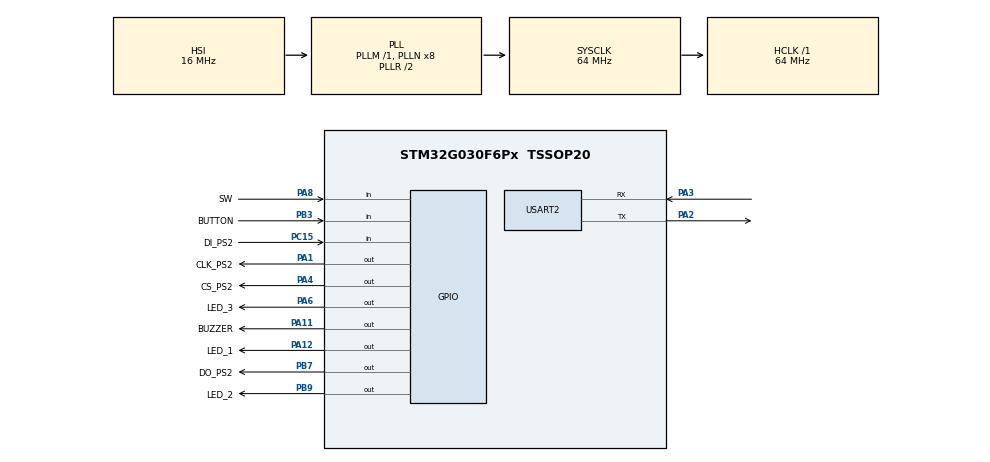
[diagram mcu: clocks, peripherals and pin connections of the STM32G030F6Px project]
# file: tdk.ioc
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Dma.Request0=USART2_TX
Dma.USART2_TX.0.Direction=DMA_MEMORY_TO_PERIPH
Dma.USART2_TX.0.EventEnable=DISABLE
Dma.USART2_TX.0.Instance=DMA1_Channel1
Dma.USART2_TX.0.MemDataAlignment=DMA_MDATAALIGN_BYTE
Dma.USART2_TX.0.MemInc=DMA_MINC_ENABLE
Dma.USART2_TX.0.Mode=DMA_NORMAL
Dma.USART2_TX.0.PeriphDataAlignment=DMA_PDATAALIGN_BYTE
Dma.USART2_TX.0.PeriphInc=DMA_PINC_DISABLE
Dma.USART2_TX.0.Polarity=HAL_DMAMUX_REQ_GEN_RISING
Dma.USART2_TX.0.Priority=DMA_PRIORITY_LOW
Dma.USART2_TX.0.RequestNumber=1
Dma.USART2_TX.0.SignalID=NONE
Dma.USART2_TX.0.SyncEnable=DISABLE
Dma.USART2_TX.0.SyncPolarity=HAL_DMAMUX_SYNC_NO_EVENT
Dma.USART2_TX.0.SyncRequestNumber=1
Dma.USART2_TX.0.SyncSignalID=NONE
Mcu.Family=STM32G0
Mcu.Name=STM32G030F6Px
Mcu.Package=TSSOP20
NVIC.DMA1_Channel1_IRQn=true\:1\:0\:false\:false\:true\:false\:true\:true
NVIC.TIM3_IRQn=true\:2\:0\:false\:false\:true\:true\:true\:true
NVIC.USART2_IRQn=true\:1\:0\:false\:false\:true\:false\:true\:true
PA1.GPIO_Label=CLK_PS2
PA1.GPIO_PuPd=GPIO_NOPULL
PA1.GPIO_Speed=GPIO_SPEED_FREQ_HIGH
PA1.PinState=GPIO_PIN_SET
PA1.Signal=GPIO_Output
PA11\ [PA9].GPIO_Label=BUZZER
PA11\ [PA9].PinState=GPIO_PIN_RESET
PA11\ [PA9].Signal=GPIO_Output
PA12\ [PA10].GPIO_Label=LED_1
PA12\ [PA10].PinState=GPIO_PIN_RESET
PA12\ [PA10].Signal=GPIO_Output
PA13.Mode=Serial_Wire
PA13.Signal=SYS_SWDIO
PA14-BOOT0.Mode=Serial_Wire
PA14-BOOT0.Signal=SYS_SWCLK
PA14-BOOT0__PA15.StandardMode=true
PA2.Mode=Asynchronous
PA2.Signal=USART2_TX
PA3.Mode=Asynchronous
PA3.Signal=USART2_RX
PA4.GPIO_Label=CS_PS2
PA4.GPIO_PuPd=GPIO_NOPULL
PA4.GPIO_Speed=GPIO_SPEED_FREQ_HIGH
PA4.PinState=GPIO_PIN_SET
PA4.Signal=GPIO_Output
PA6.GPIO_Label=LED_3
PA6.PinState=GPIO_PIN_RESET
PA6.Signal=GPIO_Output
PA8.GPIO_Label=SW
PA8.GPIO_PuPd=GPIO_NOPULL
PA8.Signal=GPIO_Input
PB0__PB1__PB2__PA8.StandardMode=true
PB3.GPIO_Label=BUTTON
PB3.GPIO_PuPd=GPIO_NOPULL
PB3.Signal=GPIO_Input
PB3__PB4__PB5__PB6.StandardMode=true
PB7.GPIO_Label=DO_PS2
PB7.GPIO_PuPd=GPIO_NOPULL
PB7.GPIO_Speed=GPIO_SPEED_FREQ_HIGH
PB7.PinState=GPIO_PIN_SET
PB7.Signal=GPIO_Output
PB7__PB8.StandardMode=true
PB9.GPIO_Label=LED_2
PB9.PinState=GPIO_PIN_RESET
PB9.Signal=GPIO_Output
PC14-OSC32_IN\ (PC14)__PB9.StandardMode=true
PC15-OSC32_OUT\ (PC15).GPIO_Label=DI_PS2
PC15-OSC32_OUT\ (PC15).GPIO_PuPd=GPIO_PULLUP
PC15-OSC32_OUT\ (PC15).Signal=GPIO_Input
ProjectManager.HeapSize=0x200
ProjectManager.StackSize=0x400
ProjectManager.TargetToolchain=EWARM V8.50
RCC.ADCFreq_Value=64000000
RCC.AHBFreq_Value=64000000
RCC.CortexFreq_Value=64000000
RCC.EXTERNAL_CLOCK_VALUE=12288000
RCC.FLatency=FLASH_LATENCY_2
RCC.HCLKFreq_Value=64000000
RCC.HSE_VALUE=8000000
RCC.HSI_VALUE=16000000
RCC.LSE_VALUE=32768
RCC.SYSCLKFreq_VALUE=64000000
RCC.SYSCLKSource=RCC_SYSCLKSOURCE_PLLCLK
RCC.VCOOutputFreq_Value=128000000
TIM14.Prescaler=127
TIM3.Period=9999
TIM3.Prescaler=63
USART2.VirtualMode-Asynchronous=VM_ASYNC
VP_TIM14_VS_ClockSourceINT.Mode=Enable_Timer
VP_TIM3_VS_ClockSourceINT.Mode=Internal
board=custom

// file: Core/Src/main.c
/* USER CODE BEGIN Header */
/**
  ******************************************************************************
  * @file           : main.c
  * @brief          : Main program body
  ******************************************************************************
  * @attention
  *
  * Copyright (c) 2026 STMicroelectronics.
  * All rights reserved.
  *
  * This software is licensed under terms that can be found in the LICENSE file
  * in the root directory of this software component.
  * If no LICENSE file comes with this software, it is provided AS-IS.
  *
  ******************************************************************************
  */
/* USER CODE END Header */
#include "main.h"

/* USER CODE BEGIN Includes */
#include "PS2_F103.h"
#include "rf_hc12.h"
/* USER CODE END Includes */

TIM_HandleTypeDef htim3;
TIM_HandleTypeDef htim14;

UART_HandleTypeDef huart2;
DMA_HandleTypeDef hdma_usart2_tx;

/* USER CODE BEGIN PV */
Data du;
RF_HC12_t g_rf;
volatile uint8_t g_tim3_10ms_flag = 0U;

typedef struct
{
  GPIO_TypeDef *port;
  uint16_t      pin;
  uint8_t       raw_last;
  uint8_t       debounced;
  uint32_t      change_ms;
} TdkSwitch_t;

static TdkSwitch_t g_sw_pa8  = {SW_GPIO_Port, SW_Pin, 0U, 0U, 0U};
static TdkSwitch_t g_btn_pb3 = {BUTTON_GPIO_Port, BUTTON_Pin, 0U, 0U, 0U};
/* USER CODE END PV */

void SystemClock_Config(void);
static void MX_GPIO_Init(void);
static void MX_DMA_Init(void);
static void MX_TIM3_Init(void);
static void MX_TIM14_Init(void);
static void MX_USART2_UART_Init(void);

/* USER CODE BEGIN 0 */
static void tdk_switch_init(TdkSwitch_t *sw, uint32_t now_ms)
{
  /* tay_dk SW1 (PA8) & SW2 (PB3) have 10k pull-ups to +3V3 and pull to GND when pressed (active-LOW) */
  uint8_t raw = (HAL_GPIO_ReadPin(sw->port, sw->pin) == GPIO_PIN_RESET) ? 1U : 0U;
  sw->raw_last = raw;
  sw->debounced = raw;
  sw->change_ms = now_ms;
}

static uint8_t tdk_switch_update(TdkSwitch_t *sw, uint32_t now_ms)
{
  uint8_t raw = (HAL_GPIO_ReadPin(sw->port, sw->pin) == GPIO_PIN_RESET) ? 1U : 0U;
  if (raw != sw->raw_last)
  {
    sw->raw_last = raw;
    sw->change_ms = now_ms;
  }
  if ((raw != sw->debounced) && ((uint32_t)(now_ms - sw->change_ms) >= 20U))
  {
    sw->debounced = raw;
  }
  return sw->debounced;
}

void HAL_TIM_PeriodElapsedCallback(TIM_HandleTypeDef *htim)
{
  if (htim->Instance == TIM3)
  {
    g_tim3_10ms_flag = 1U;
  }
}

void HAL_UART_ErrorCallback(UART_HandleTypeDef *huart)
{
  RF_HC12_UartErrorCallback(&g_rf, huart);
}
/* USER CODE END 0 */

int main(void)
{

  /* MCU Configuration--------------------------------------------------------*/

  /* Reset of all peripherals, Initializes the Flash interface and the Systick. */
  HAL_Init();

  /* Configure the system clock */
  SystemClock_Config();

  /* Initialize all configured peripherals */
  MX_GPIO_Init();
  MX_DMA_Init();
  MX_TIM3_Init();
  MX_TIM14_Init();
  MX_USART2_UART_Init();
  /* USER CODE BEGIN 2 */
  HAL_Delay(200);
  RF_HC12_Init(&g_rf, &huart2, NULL, 0U, RF_NODE_TDK, 0U);
  (void)RF_HC12_SetupRoutine(&g_rf, RF_HC12_DEFAULT_CHANNEL, RF_HC12_DEFAULT_BAUD);

  PS2_Init(&htim14, &du);
  HAL_Delay(150);

  uint32_t boot_ms = HAL_GetTick();
  tdk_switch_init(&g_sw_pa8, boot_ms);
  tdk_switch_init(&g_btn_pb3, boot_ms);

  uint8_t tx_div = 0U;
  HAL_TIM_Base_Start_IT(&htim3);
  /* USER CODE END 2 */

  /* Infinite loop */
  while (1)
  {

    /* USER CODE BEGIN 3 */
    if (g_tim3_10ms_flag != 0U)
    {
      g_tim3_10ms_flag = 0U;
      uint32_t now_ms = HAL_GetTick();

      /* Bit-bang PS2 in thread context so interrupts / SysTick / DMA TX are never blocked */
      PS2_Update();

      uint8_t sw_pressed  = tdk_switch_update(&g_sw_pa8, now_ms);
      uint8_t btn_pressed = tdk_switch_update(&g_btn_pb3, now_ms);

      /* Active-HIGH LED_1: solid ON when PS2 responds, blinking when disconnected */
      bool ps2_valid  = (du.address == 255U) || (du.address == 0x41U);
      bool ps2_analog = (du.address == 255U);
      if (ps2_valid)
      {
        HAL_GPIO_WritePin(LED_1_GPIO_Port, LED_1_Pin, GPIO_PIN_SET);
      }
      else
      {
        HAL_GPIO_WritePin(LED_1_GPIO_Port, LED_1_Pin,
                          (((now_ms / 250U) & 1U) != 0U) ? GPIO_PIN_SET : GPIO_PIN_RESET);
      }

      /* Active-HIGH LED_3: ON when AT configured OR user presses SW/BUTTON */
      bool led3_on = (sw_pressed != 0U) || (btn_pressed != 0U) || (g_rf.at_configured != 0U);
      HAL_GPIO_WritePin(LED_3_GPIO_Port, LED_3_Pin, led3_on ? GPIO_PIN_SET : GPIO_PIN_RESET);

      /* 50 Hz RF transmit (20 ms period -> leaves clean ~15 ms TDMA window for manual->auto relay) */
      tx_div++;
      if (tx_div >= 2U)
      {
        tx_div = 0U;
        RF_PayloadTdk_t cmd;
        cmd.ps2_addr    = du.address;
        cmd.joy_sum[0]  = du.data[0];
        cmd.joy_sum[1]  = du.data[1];
        cmd.joy_left[0] = du.data2[0];
        cmd.joy_left[1] = du.data2[1];
        cmd.ps2_btn[0]  = du.button[0];
        cmd.ps2_btn[1]  = du.button[1];
        cmd.ext_sw      = (sw_pressed  ? RF_TDK_EXT_SW_BIT     : 0U) |
                          (btn_pressed ? RF_TDK_EXT_BUTTON_BIT : 0U) |
                          (ps2_valid   ? RF_TDK_PS2_VALID_BIT  : 0U) |
                          (ps2_analog  ? RF_TDK_PS2_ANALOG_BIT : 0U);
        cmd.aux         = (g_rf.at_configured != 0U) ? 1U : 0U;

        if (RF_HC12_SendTdkCmd(&g_rf, RF_NODE_MANUAL, &cmd) == HAL_OK)
        {
          HAL_GPIO_TogglePin(LED_2_GPIO_Port, LED_2_Pin);
        }
      }
    }
  }
  /* USER CODE END 3 */
}

void SystemClock_Config(void)
{
  RCC_OscInitTypeDef RCC_OscInitStruct = {0};
  RCC_ClkInitTypeDef RCC_ClkInitStruct = {0};

  /** Configure the main internal regulator output voltage
  */
  HAL_PWREx_ControlVoltageScaling(PWR_REGULATOR_VOLTAGE_SCALE1);

  /** Initializes the RCC Oscillators according to the specified parameters
  * in the RCC_OscInitTypeDef structure.
  */
  RCC_OscInitStruct.OscillatorType = RCC_OSCILLATORTYPE_HSI;
  RCC_OscInitStruct.HSIState = RCC_HSI_ON;
  RCC_OscInitStruct.HSIDiv = RCC_HSI_DIV1;
  RCC_OscInitStruct.HSICalibrationValue = RCC_HSICALIBRATION_DEFAULT;
  RCC_OscInitStruct.PLL.PLLState = RCC_PLL_ON;
  RCC_OscInitStruct.PLL.PLLSource = RCC_PLLSOURCE_HSI;
  RCC_OscInitStruct.PLL.PLLM = RCC_PLLM_DIV1;
  RCC_OscInitStruct.PLL.PLLN = 8;
  RCC_OscInitStruct.PLL.PLLP = RCC_PLLP_DIV2;
  RCC_OscInitStruct.PLL.PLLR = RCC_PLLR_DIV2;
  if (HAL_RCC_OscConfig(&RCC_OscInitStruct) != HAL_OK)
  {
    Error_Handler();
  }

  /** Initializes the CPU, AHB and APB buses clocks
  */
  RCC_ClkInitStruct.ClockType = RCC_CLOCKTYPE_HCLK|RCC_CLOCKTYPE_SYSCLK
                              |RCC_CLOCKTYPE_PCLK1;
  RCC_ClkInitStruct.SYSCLKSource = RCC_SYSCLKSOURCE_PLLCLK;
  RCC_ClkInitStruct.AHBCLKDivider = RCC_SYSCLK_DIV1;
  RCC_ClkInitStruct.APB1CLKDivider = RCC_HCLK_DIV1;

  if (HAL_RCC_ClockConfig(&RCC_ClkInitStruct, FLASH_LATENCY_2) != HAL_OK)
  {
    Error_Handler();
  }
}

static void MX_TIM3_Init(void)
{

  TIM_ClockConfigTypeDef sClockSourceConfig = {0};
  TIM_MasterConfigTypeDef sMasterConfig = {0};

  htim3.Instance = TIM3;
  htim3.Init.Prescaler = 63;
  htim3.Init.CounterMode = TIM_COUNTERMODE_UP;
  htim3.Init.Period = 9999;
  htim3.Init.ClockDivision = TIM_CLOCKDIVISION_DIV1;
  htim3.Init.AutoReloadPreload = TIM_AUTORELOAD_PRELOAD_DISABLE;
  if (HAL_TIM_Base_Init(&htim3) != HAL_OK)
  {
    Error_Handler();
  }
  sClockSourceConfig.ClockSource = TIM_CLOCKSOURCE_INTERNAL;
  if (HAL_TIM_ConfigClockSource(&htim3, &sClockSourceConfig) != HAL_OK)
  {
    Error_Handler();
  }
  sMasterConfig.MasterOutputTrigger = TIM_TRGO_RESET;
  sMasterConfig.MasterSlaveMode = TIM_MASTERSLAVEMODE_DISABLE;
  if (HAL_TIMEx_MasterConfigSynchronization(&htim3, &sMasterConfig) != HAL_OK)
  {
    Error_Handler();
  }

}

static void MX_TIM14_Init(void)
{

  htim14.Instance = TIM14;
  htim14.Init.Prescaler = 127;
  htim14.Init.CounterMode = TIM_COUNTERMODE_UP;
  htim14.Init.Period = 65535;
  htim14.Init.ClockDivision = TIM_CLOCKDIVISION_DIV1;
  htim14.Init.AutoReloadPreload = TIM_AUTORELOAD_PRELOAD_DISABLE;
  if (HAL_TIM_Base_Init(&htim14) != HAL_OK)
  {
    Error_Handler();
  }

}

static void MX_USART2_UART_Init(void)
{

  huart2.Instance = USART2;
  huart2.Init.BaudRate = 115200;
  huart2.Init.WordLength = UART_WORDLENGTH_8B;
  huart2.Init.StopBits = UART_STOPBITS_1;
  huart2.Init.Parity = UART_PARITY_NONE;
  huart2.Init.Mode = UART_MODE_TX_RX;
  huart2.Init.HwFlowCtl = UART_HWCONTROL_NONE;
  huart2.Init.OverSampling = UART_OVERSAMPLING_16;
  huart2.Init.OneBitSampling = UART_ONE_BIT_SAMPLE_DISABLE;
  huart2.Init.ClockPrescaler = UART_PRESCALER_DIV1;
  huart2.AdvancedInit.AdvFeatureInit = UART_ADVFEATURE_NO_INIT;
  if (HAL_UART_Init(&huart2) != HAL_OK)
  {
    Error_Handler();
  }

}

static void MX_DMA_Init(void)
{

  /* DMA controller clock enable */
  __HAL_RCC_DMA1_CLK_ENABLE();

  /* DMA interrupt init */
  /* DMA1_Channel1_IRQn interrupt configuration */
  HAL_NVIC_SetPriority(DMA1_Channel1_IRQn, 1, 0);
  HAL_NVIC_EnableIRQ(DMA1_Channel1_IRQn);

}

static void MX_GPIO_Init(void)
{
  GPIO_InitTypeDef GPIO_InitStruct = {0};

  /* GPIO Ports Clock Enable */
  __HAL_RCC_GPIOB_CLK_ENABLE();
  __HAL_RCC_GPIOC_CLK_ENABLE();
  __HAL_RCC_GPIOA_CLK_ENABLE();

  /*Configure GPIO pin Output Level */
  HAL_GPIO_WritePin(DO_PS2_GPIO_Port, DO_PS2_Pin, GPIO_PIN_SET);

  /*Configure GPIO pin Output Level */
  HAL_GPIO_WritePin(LED_2_GPIO_Port, LED_2_Pin, GPIO_PIN_RESET);

  /*Configure GPIO pin Output Level */
  HAL_GPIO_WritePin(GPIOA, CLK_PS2_Pin|CS_PS2_Pin, GPIO_PIN_SET);

  /*Configure GPIO pin Output Level */
  HAL_GPIO_WritePin(GPIOA, LED_3_Pin|BUZZER_Pin|LED_1_Pin, GPIO_PIN_RESET);

  /*Configure GPIO pin : DO_PS2_Pin */
  GPIO_InitStruct.Pin = DO_PS2_Pin;
  GPIO_InitStruct.Mode = GPIO_MODE_OUTPUT_PP;
  GPIO_InitStruct.Pull = GPIO_NOPULL;
  GPIO_InitStruct.Speed = GPIO_SPEED_FREQ_HIGH;
  HAL_GPIO_Init(DO_PS2_GPIO_Port, &GPIO_InitStruct);

  /*Configure GPIO pin : LED_2_Pin */
  GPIO_InitStruct.Pin = LED_2_Pin;
  GPIO_InitStruct.Mode = GPIO_MODE_OUTPUT_PP;
  GPIO_InitStruct.Pull = GPIO_NOPULL;
  GPIO_InitStruct.Speed = GPIO_SPEED_FREQ_LOW;
  HAL_GPIO_Init(LED_2_GPIO_Port, &GPIO_InitStruct);

  /*Configure GPIO pin : DI_PS2_Pin */
  GPIO_InitStruct.Pin = DI_PS2_Pin;
  GPIO_InitStruct.Mode = GPIO_MODE_INPUT;
  GPIO_InitStruct.Pull = GPIO_PULLUP;
  HAL_GPIO_Init(DI_PS2_GPIO_Port, &GPIO_InitStruct);

  /*Configure GPIO pins : CLK_PS2_Pin CS_PS2_Pin */
  GPIO_InitStruct.Pin = CLK_PS2_Pin|CS_PS2_Pin;
  GPIO_InitStruct.Mode = GPIO_MODE_OUTPUT_PP;
  GPIO_InitStruct.Pull = GPIO_NOPULL;
  GPIO_InitStruct.Speed = GPIO_SPEED_FREQ_HIGH;
  HAL_GPIO_Init(GPIOA, &GPIO_InitStruct);

  /*Configure GPIO pins : LED_3_Pin BUZZER_Pin LED_1_Pin */
  GPIO_InitStruct.Pin = LED_3_Pin|BUZZER_Pin|LED_1_Pin;
  GPIO_InitStruct.Mode = GPIO_MODE_OUTPUT_PP;
  GPIO_InitStruct.Pull = GPIO_NOPULL;
  GPIO_InitStruct.Speed = GPIO_SPEED_FREQ_LOW;
  HAL_GPIO_Init(GPIOA, &GPIO_InitStruct);

  /*Configure GPIO pin : SW_Pin */
  GPIO_InitStruct.Pin = SW_Pin;
  GPIO_InitStruct.Mode = GPIO_MODE_INPUT;
  GPIO_InitStruct.Pull = GPIO_NOPULL;
  HAL_GPIO_Init(SW_GPIO_Port, &GPIO_InitStruct);

  /*Configure GPIO pin : BUTTON_Pin */
  GPIO_InitStruct.Pin = BUTTON_Pin;
  GPIO_InitStruct.Mode = GPIO_MODE_INPUT;
  GPIO_InitStruct.Pull = GPIO_NOPULL;
  HAL_GPIO_Init(BUTTON_GPIO_Port, &GPIO_InitStruct);

}

void Error_Handler(void)
{
  __disable_irq();
  while (1)
  {
  }
}
